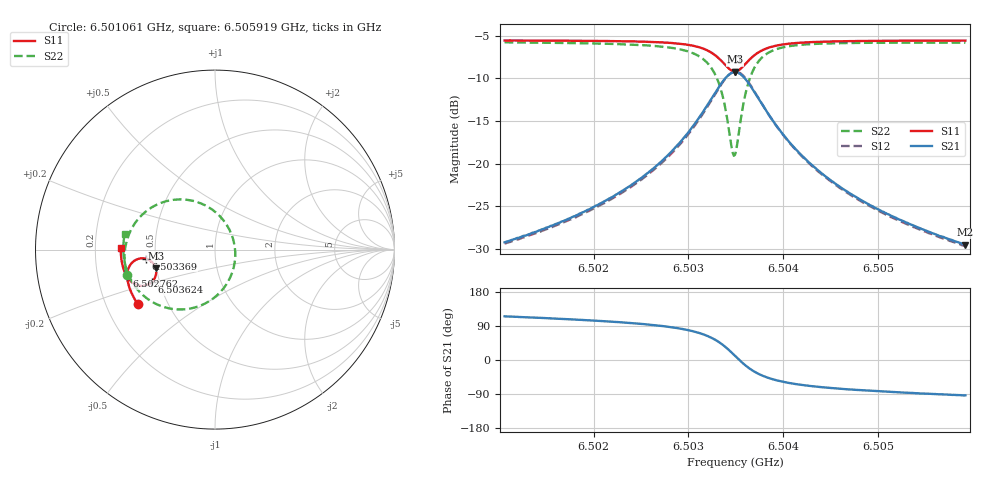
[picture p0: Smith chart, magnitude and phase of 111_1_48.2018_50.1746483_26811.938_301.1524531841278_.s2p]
#  HZ  S  RI  R  50.00
! Rohde & Schwarz Vector Network Analyzer
! Rohde-Schwarz,ZNB20-2Port,1311601062101988,3.16
! Created: UTC 3/20/2024, 11:40:59 AM
! freq[Hz]  re:S11  im:S11  re:S21  im:S21  re:S12  im:S12  re:S22  im:S22
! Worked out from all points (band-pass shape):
!   401 points, 6.501061 GHz to 6.505919 GHz, reference 50 ohm
!   highest |S21| = -9.28 dB at 6.50349 GHz (marker M1); lowest = -29.5 dB at 6.505919 GHz (marker M2)
!   |S21| within 3 dB of the highest: 6.503247 GHz to 6.503733 GHz (485.7 kHz wide, 0.00747 % of centre)
!   lowest |S11| = -9.2 dB at 6.50349 GHz (marker M3), VSWR 2.06, Z = 24.7 - j5.77 ohm
!   |S11| at or under -10 dB: nowhere
!   |S22| runs from -19.1 to -5.8 dB; largest |S21 - S12| = 0.012
!   S11 on the Smith chart (normalised r, x): 6.501061 GHz: 0.34, -0.28; 6.502762 GHz: 0.33, -0.13; 6.503369 GHz: 0.44, -0.05; 6.503624 GHz: 0.45, -0.19; 6.505919 GHz: 0.31, +0.01
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6.5010615e9  -0.4312 -0.3019  -0.0148 0.0314  -0.0132 0.0315  -0.4931 -0.1432
6.5018751e9  -0.4655 -0.2408  -0.0141 0.0497  -0.0115 0.0493  -0.5043 -0.0544
6.5023002e9  -0.4801 -0.2025  -0.0112 0.0684  -0.00808 0.0672  -0.5003 0.00741
6.5026888e9  -0.4889 -0.1586  -0.00114 0.1003  0.00247 0.0977  -0.4785 0.0875
6.5027616e9  -0.4895 -0.1488  0.00287 0.1093  0.00667 0.1063  -0.4697 0.1071
6.5029681e9  -0.4856 -0.1154  0.0246 0.1435  0.0282 0.1389  -0.4242 0.1751
6.5031259e9  -0.4706 -0.083  0.0646 0.1799  0.0674 0.1738  -0.3461 0.2389
6.5032717e9  -0.4322 -0.0534  0.1476 0.2087  0.1483 0.2023  -0.1947 0.2798
6.5033202e9  -0.4107 -0.0485  0.1906 0.207  0.1907 0.2013  -0.1192 0.2707
6.5033688e9  -0.385 -0.0507  0.2401 0.1915  0.2402 0.1867  -0.0343 0.2352
6.5034538e9  -0.3418 -0.0805  0.3192 0.1156  0.3218 0.1113  0.0919 0.0853
6.5034903e9  -0.3307 -0.1028  0.337 0.0661  0.3406 0.0604  0.1125 -0.00776
6.5035145e9  -0.3278 -0.1193  0.3404 0.0309  0.3442 0.0241  0.1097 -0.0722
6.503551e9  -0.3301 -0.1437  0.3326 -0.0199  0.3361 -0.029  0.0814 -0.1624
6.5036238e9  -0.3526 -0.1812  0.2851 -0.0968  0.2848 -0.1086  -0.0312 -0.2867
6.5037331e9  -0.3988 -0.2017  0.1969 -0.1425  0.1914 -0.1524  -0.2098 -0.3331
6.503891e9  -0.4463 -0.1922  0.1119 -0.1385  0.1046 -0.1436  -0.3625 -0.2835
6.504061e9  -0.4746 -0.1708  0.0658 -0.117  0.0594 -0.1194  -0.437 -0.2159
6.5043039e9  -0.4956 -0.141  0.0349 -0.0915  0.03 -0.092  -0.4814 -0.1418
6.5046561e9  -0.5109 -0.1034  0.0158 -0.0678  0.0124 -0.0674  -0.504 -0.0679
6.5051175e9  -0.5209 -0.0602  0.0053 -0.05  0.00293 -0.0492  -0.5108 6.77e-05
6.505919e9  -0.526 0.00847  -0.00192 -0.0335  -0.00338 -0.0328  -0.5034 0.0871
